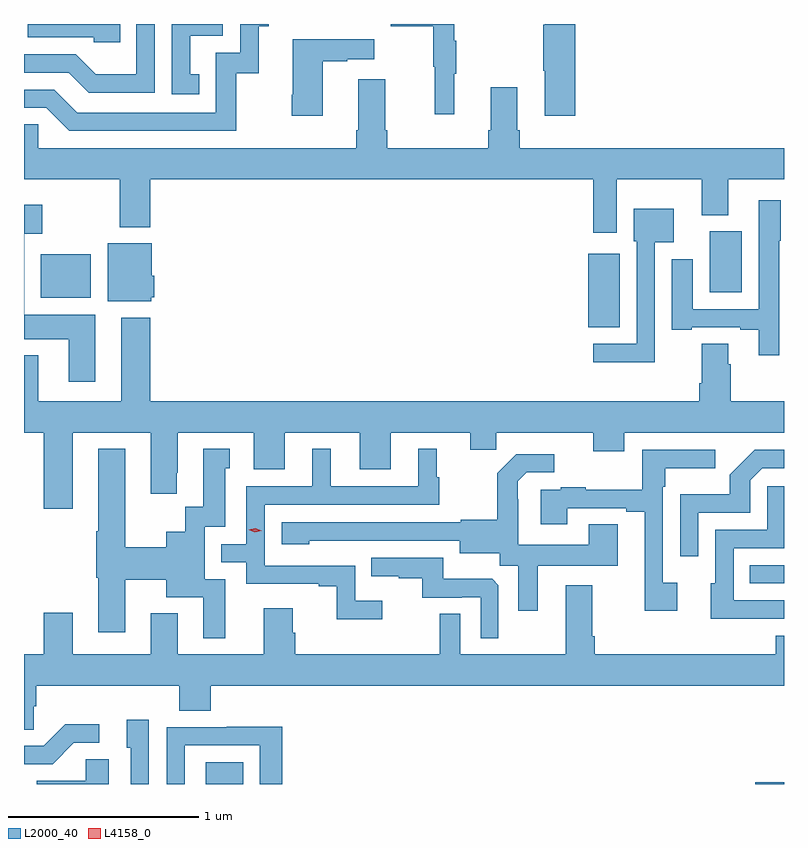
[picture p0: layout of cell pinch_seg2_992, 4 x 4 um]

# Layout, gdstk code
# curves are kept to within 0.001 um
import gdstk
lib = gdstk.Library(unit=1e-6, precision=1e-09)
def R(c, l, rs):  # rectangles x0, y0, x1, y1
    for r in rs: c.add(gdstk.rectangle(r[:2], r[2:], *l))
def P(c, l, *ps):  # polygons
    for p in ps: c.add(gdstk.Polygon(p, *l))
L2000_40 = (2000, 40)
L4158_0 = (4158, 0)

pinch_seg2_992 = lib.new_cell('pinch_seg2_992')
R(pinch_seg2_992, L2000_40, [(244.139,584.514,244.336,584.629), (247.032,584.514,247.183,584.522), (247.003,585.57,247.183,585.666), (246.152,586.919,246.319,587.305), (243.272,587.072,243.535,587.302), (246.791,587.102,246.961,587.422)])
P(pinch_seg2_992, L2000_40, [(245.447,588.251),(245.458,588.251),(245.458,588.425),(245.447,588.425),(245.447,588.514),(245.113,588.514),(245.113,588.502),(245.337,588.502),(245.337,588.288),(245.344,588.288),(245.344,588.039),(245.447,588.039)],
  [(243.689,588.514),(243.204,588.514),(243.204,588.444),(243.549,588.444),(243.549,588.417),(243.689,588.417)],
  [(243.87,588.514),(243.774,588.514),(243.774,588.25),(243.56,588.25),(243.456,588.354),(243.183,588.354),(243.183,588.258),(243.419,588.258),(243.524,588.153),(243.87,588.153)],
  [(244.106,588.249),(244.057,588.249),(244.057,588.453),(244.23,588.453),(244.23,588.514),(243.96,588.514),(243.96,588.144),(244.106,588.144)],
  [(246.083,588.514),(245.924,588.514),(245.924,588.509),(245.917,588.509),(245.917,588.268),(245.924,588.268),(245.924,588.03),(246.083,588.03)],
  [(244.3,588.255),(244.418,588.255),(244.418,588.501),(244.471,588.501),(244.471,588.514),(244.32,588.514),(244.32,588.363),(244.191,588.363),(244.191,588.048),(243.462,588.048),(243.342,588.168),(243.183,588.168),(243.183,588.072),(243.3,588.072),(243.42,587.952),(244.3,587.952)],
  [(244.756,588.319),(244.883,588.319),(244.883,588.329),(245.026,588.329),(245.026,588.433),(244.598,588.433),(244.598,588.142),(244.591,588.142),(244.591,588.03),(244.756,588.03)],
  [(246.304,587.696),(246.749,587.696),(246.749,587.507),(246.889,587.507),(246.889,587.696),(247.183,587.696),(247.183,587.86),(245.792,587.86),(245.792,587.956),(245.779,587.956),(245.779,588.181),(245.639,588.181),(245.639,587.956),(245.627,587.956),(245.627,587.86),(245.096,587.86),(245.096,587.956),(245.083,587.956),(245.083,588.223),(244.943,588.223),(244.943,587.956),(244.931,587.956),(244.931,587.86),(243.258,587.86),(243.258,587.987),(243.183,587.987),(243.183,587.696),(243.688,587.696),(243.688,587.444),(243.848,587.444),(243.848,587.696),(246.179,587.696),(246.179,587.415),(246.304,587.415)],
  [(247.159,587.374),(247.166,587.374),(247.166,587.587),(247.05,587.587),(247.05,587.013),(246.703,587.013),(246.703,587.275),(246.593,587.275),(246.593,586.905),(246.697,586.905),(246.697,586.917),(246.953,586.917),(246.953,586.905),(247.049,586.905),(247.049,586.77),(247.159,586.77)],
  [(243.559,586.984),(243.184,586.984),(243.184,587.411),(243.28,587.411),(243.28,587.563),(243.183,587.563),(243.183,586.856),(243.419,586.856),(243.419,586.632),(243.559,586.632)],
  [(246.504,587.366),(246.604,587.366),(246.604,587.542),(246.392,587.542),(246.392,587.37),(246.408,587.37),(246.408,586.83),(246.18,586.83),(246.18,586.733),(246.504,586.733)],
  [(243.852,587.076),(243.868,587.076),(243.868,587.19),(243.856,587.19),(243.856,587.359),(243.623,587.359),(243.623,587.054),(243.852,587.054)],
  [(243.439,586.364),(243.851,586.364),(243.851,586.041),(243.988,586.041),(243.988,586.153),(243.991,586.153),(243.991,586.364),(244.391,586.364),(244.391,586.17),(244.555,586.17),(244.555,586.364),(244.949,586.364),(244.949,586.17),(245.113,586.17),(245.113,586.364),(245.531,586.364),(245.531,586.274),(245.669,586.274),(245.669,586.364),(246.179,586.364),(246.179,586.265),(246.343,586.265),(246.343,586.364),(247.183,586.364),(247.183,586.528),(246.902,586.528),(246.902,586.724),(246.889,586.724),(246.889,586.832),(246.749,586.832),(246.749,586.624),(246.737,586.624),(246.737,586.528),(243.848,586.528),(243.848,586.969),(243.695,586.969),(243.695,586.528),(243.259,586.528),(243.259,586.771),(243.183,586.771),(243.183,586.364),(243.287,586.364),(243.287,585.963),(243.439,585.963)],
  [(244.243,585.591),(244.134,585.591),(244.134,585.867),(244.243,585.867),(244.243,586.176),(244.267,586.176),(244.267,586.279),(244.127,586.279),(244.127,585.972),(244.031,585.972),(244.031,585.841),(243.932,585.841),(243.932,585.761),(243.715,585.761),(243.715,586.279),(243.575,586.279),(243.575,585.844),(243.563,585.844),(243.563,585.6),(243.575,585.6),(243.575,585.312),(243.715,585.312),(243.715,585.589),(243.932,585.589),(243.932,585.497),(244.127,585.497),(244.127,585.282),(244.243,585.282)],
  [(245.068,585.478),(244.926,585.478),(244.926,585.663),(244.449,585.663),(244.449,585.984),(245.368,585.984),(245.368,586.128),(245.356,586.128),(245.356,586.279),(245.258,586.279),(245.258,586.08),(244.798,586.08),(244.798,586.279),(244.7,586.279),(244.7,586.08),(244.353,586.08),(244.353,585.777),(244.22,585.777),(244.22,585.681),(244.353,585.681),(244.353,585.567),(244.733,585.567),(244.733,585.555),(244.828,585.555),(244.828,585.38),(245.068,585.38)],
  [(246.732,585.942),(247.005,585.942),(247.005,586.113),(247.068,586.176),(247.183,586.176),(247.183,586.272),(247.028,586.272),(246.898,586.142),(246.898,586.039),(246.636,586.039),(246.636,585.714),(246.732,585.714)],
  [(246.622,585.574),(246.546,585.574),(246.546,586.079),(246.559,586.079),(246.559,586.175),(246.82,586.175),(246.82,586.272),(246.438,586.272),(246.438,586.064),(246.139,586.064),(246.139,586.075),(246.007,586.075),(246.007,586.062),(245.903,586.062),(245.903,585.882),(246.043,585.882),(246.043,585.966),(246.353,585.966),(246.353,585.948),(246.449,585.948),(246.449,585.426),(246.622,585.426)],
  [(245.887,585.662),(246.307,585.662),(246.307,585.881),(246.155,585.881),(246.155,585.772),(245.784,585.772),(245.784,586.013),(245.782,586.013),(245.782,586.108),(245.829,586.155),(245.974,586.155),(245.974,586.249),(245.773,586.249),(245.673,586.149),(245.673,585.904),(245.481,585.904),(245.481,585.891),(244.539,585.891),(244.539,585.776),(244.683,585.776),(244.683,585.794),(245.477,585.795),(245.477,585.728),(245.688,585.728),(245.688,585.664),(245.783,585.664),(245.783,585.426),(245.887,585.426)],
  [(247.015,585.384),(247.183,585.384),(247.183,585.48),(246.918,585.48),(246.918,585.756),(247.183,585.756),(247.183,586.081),(247.095,586.081),(247.095,585.852),(246.822,585.852),(246.822,585.57),(246.797,585.57),(246.797,585.383),(247.015,585.383)],
  [(245.679,585.561),(245.647,585.593),(245.389,585.593),(245.389,585.705),(245.011,585.705),(245.011,585.608),(245.155,585.608),(245.155,585.597),(245.279,585.597),(245.279,585.495),(245.486,585.495),(245.486,585.498),(245.586,585.498),(245.586,585.281),(245.679,585.281)],
  [(243.234,584.923),(243.248,584.923),(243.248,585.032),(244.001,585.032),(244.001,584.899),(244.166,584.899),(244.166,585.032),(247.183,585.032),(247.183,585.295),(247.139,585.295),(247.139,585.196),(246.188,585.196),(246.188,585.292),(246.175,585.292),(246.175,585.559),(246.035,585.559),(246.035,585.196),(245.478,585.196),(245.478,585.41),(245.37,585.41),(245.37,585.196),(244.61,585.196),(244.61,585.309),(244.597,585.309),(244.597,585.439),(244.445,585.439),(244.445,585.196),(243.991,585.196),(243.991,585.412),(243.851,585.412),(243.851,585.196),(243.439,585.196),(243.439,585.415),(243.287,585.415),(243.287,585.196),(243.183,585.196),(243.183,584.8),(243.234,584.8)],
  [(243.84,584.851),(243.725,584.851),(243.725,584.706),(243.744,584.706),(243.744,584.514),(243.84,584.514)],
  [(243.445,584.73),(243.58,584.73),(243.58,584.828),(243.401,584.828),(243.288,584.715),(243.183,584.715),(243.183,584.619),(243.334,584.619)],
  [(244.029,584.718),(244.425,584.718),(244.425,584.514),(244.541,584.514),(244.541,584.816),(244.249,584.816),(244.249,584.814),(243.933,584.814),(243.933,584.514),(244.029,584.514)],
  [(243.628,584.645),(243.507,584.645),(243.507,584.53),(243.25,584.53),(243.25,584.514),(243.628,584.514)])
P(pinch_seg2_992, L4158_0, [(244.398,585.839),(244.365,585.851),(244.365,585.851),(244.365,585.851),(244.4,585.859),(244.433,585.846),(244.433,585.846),(244.433,585.846)])

lib.write_gds('pinch_seg2_992.gds')
